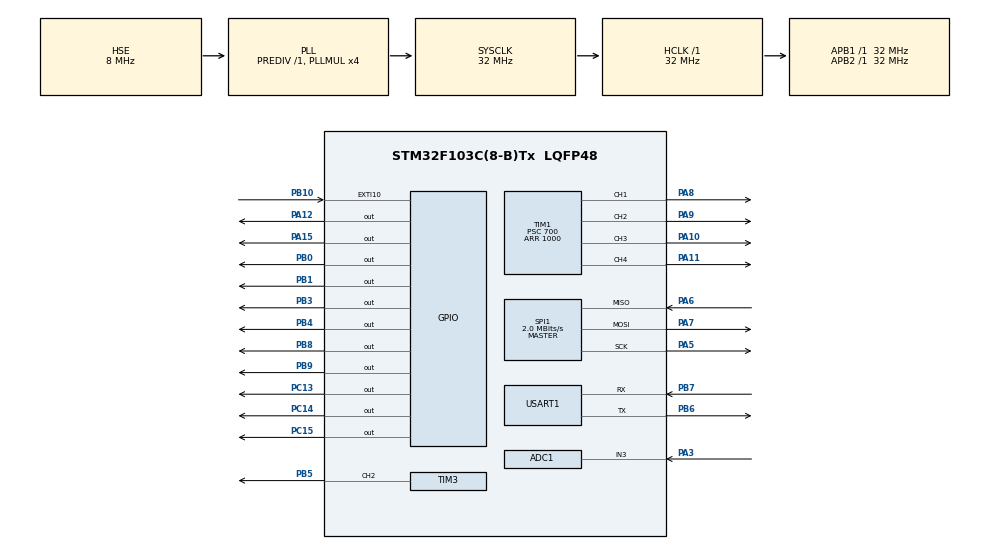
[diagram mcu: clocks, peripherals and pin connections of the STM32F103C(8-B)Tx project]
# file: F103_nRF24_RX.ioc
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ADC1.Channel-0\#ChannelRegularConversion=ADC_CHANNEL_3
ADC1.ContinuousConvMode=ENABLE
ADC1.DataAlign=ADC_DATAALIGN_RIGHT
ADC1.DiscontinuousConvMode=DISABLE
ADC1.EnableAnalogWatchDog=false
ADC1.EnableRegularConversion=ENABLE
ADC1.ExternalTrigConv=ADC_SOFTWARE_START
ADC1.InjNumberOfConversion=0
ADC1.NbrOfConversion=1
ADC1.NbrOfConversionFlag=1
ADC1.Rank-0\#ChannelRegularConversion=1
ADC1.SamplingTime-0\#ChannelRegularConversion=ADC_SAMPLETIME_239CYCLES_5
ADC1.ScanConvMode=ADC_SCAN_DISABLE
ADC1.master=1
Dma.ADC1.0.Direction=DMA_PERIPH_TO_MEMORY
Dma.ADC1.0.Instance=DMA1_Channel1
Dma.ADC1.0.MemDataAlignment=DMA_MDATAALIGN_HALFWORD
Dma.ADC1.0.MemInc=DMA_MINC_ENABLE
Dma.ADC1.0.Mode=DMA_CIRCULAR
Dma.ADC1.0.PeriphDataAlignment=DMA_PDATAALIGN_HALFWORD
Dma.ADC1.0.PeriphInc=DMA_PINC_DISABLE
Dma.ADC1.0.Priority=DMA_PRIORITY_MEDIUM
Dma.Request0=ADC1
Mcu.Family=STM32F1
Mcu.Name=STM32F103C(8-B)Tx
Mcu.Package=LQFP48
NVIC.DMA1_Channel1_IRQn=true\:0\:0\:false\:false\:true\:false
NVIC.EXTI15_10_IRQn=true\:0\:0\:false\:false\:true\:true
NVIC.PriorityGroup=NVIC_PRIORITYGROUP_4
NVIC.TIM2_IRQn=true\:1\:0\:true\:false\:true\:true
PA10.Signal=S_TIM1_CH3
PA11.Signal=S_TIM1_CH4
PA12.Signal=GPIO_Output
PA13.Mode=Serial_Wire
PA13.Signal=SYS_JTMS-SWDIO
PA14.Mode=Serial_Wire
PA14.Signal=SYS_JTCK-SWCLK
PA15.Signal=GPIO_Output
PA3.Signal=ADCx_IN3
PA5.Mode=Full_Duplex_Master
PA5.Signal=SPI1_SCK
PA6.Mode=Full_Duplex_Master
PA6.Signal=SPI1_MISO
PA7.Mode=Full_Duplex_Master
PA7.Signal=SPI1_MOSI
PA8.Signal=S_TIM1_CH1
PA9.Signal=S_TIM1_CH2
PB0.Signal=GPIO_Output
PB1.Signal=GPIO_Output
PB10.GPIO_ModeDefaultEXTI=GPIO_MODE_IT_FALLING
PB10.Signal=GPXTI10
PB3.Signal=GPIO_Output
PB4.Signal=GPIO_Output
PB5.Signal=S_TIM3_CH2
PB6.Mode=Asynchronous
PB6.Signal=USART1_TX
PB7.Mode=Asynchronous
PB7.Signal=USART1_RX
PB8.Signal=GPIO_Output
PB9.Signal=GPIO_Output
PC13-TAMPER-RTC.Signal=GPIO_Output
PC14-OSC32_IN.Signal=GPIO_Output
PC15-OSC32_OUT.Signal=GPIO_Output
PD0-OSC_IN.Mode=HSE-External-Oscillator
PD0-OSC_IN.Signal=RCC_OSC_IN
PD1-OSC_OUT.Mode=HSE-External-Oscillator
PD1-OSC_OUT.Signal=RCC_OSC_OUT
ProjectManager.HeapSize=0x200
ProjectManager.StackSize=0x400
ProjectManager.TargetToolchain=MDK-ARM V5
RCC.ADCPresc=RCC_ADCPCLK2_DIV8
RCC.AHBFreq_Value=32000000
RCC.APB1Freq_Value=32000000
RCC.APB1TimFreq_Value=32000000
RCC.APB2Freq_Value=32000000
RCC.APB2TimFreq_Value=32000000
RCC.HCLKFreq_Value=32000000
RCC.PLLMUL=RCC_PLL_MUL4
RCC.PLLSourceVirtual=RCC_PLLSOURCE_HSE
RCC.SYSCLKFreq_VALUE=32000000
RCC.SYSCLKSource=RCC_SYSCLKSOURCE_PLLCLK
RCC.USBFreq_Value=32000000
SH.ADCx_IN3.0=ADC1_IN3,IN3
SH.S_TIM1_CH1.0=TIM1_CH1,PWM Generation1 CH1
SH.S_TIM1_CH2.0=TIM1_CH2,PWM Generation2 CH2
SH.S_TIM1_CH3.0=TIM1_CH3,PWM Generation3 CH3
SH.S_TIM1_CH4.0=TIM1_CH4,PWM Generation4 CH4
SH.S_TIM3_CH2.0=TIM3_CH2,PWM Generation2 CH2
SPI1.BaudRatePrescaler=SPI_BAUDRATEPRESCALER_16
SPI1.CalculateBaudRate=2.0 MBits/s
SPI1.Direction=SPI_DIRECTION_2LINES
SPI1.Mode=SPI_MODE_MASTER
SPI1.VirtualType=VM_MASTER
TIM1.Channel-PWM\ Generation1\ CH1=TIM_CHANNEL_1
TIM1.Channel-PWM\ Generation2\ CH2=TIM_CHANNEL_2
TIM1.Channel-PWM\ Generation3\ CH3=TIM_CHANNEL_3
TIM1.Channel-PWM\ Generation4\ CH4=TIM_CHANNEL_4
TIM1.Period=1000
TIM1.Prescaler=700
TIM2.Period=1
TIM2.Prescaler=31999
TIM2.TIM_MasterOutputTrigger=TIM_TRGO_UPDATE
TIM3.Channel-PWM\ Generation2\ CH2=TIM_CHANNEL_2
TIM3.Period=1000
TIM3.Prescaler=700
USART1.VirtualMode=VM_ASYNC
VP_TIM1_VS_ClockSourceINT.Mode=Internal
VP_TIM2_VS_ClockSourceINT.Mode=Internal
VP_TIM3_VS_ClockSourceINT.Mode=Internal
board=F103_nRF24_RX

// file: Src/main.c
/**
  ******************************************************************************
  * @file           : main.c
  * @brief          : Main program body
  ******************************************************************************
  ** This notice applies to any and all portions of this file
  * that are not between comment pairs USER CODE BEGIN and
  * USER CODE END. Other portions of this file, whether
  * inserted by the user or by software development tools
  * are owned by their respective copyright owners.
  *
  * COPYRIGHT(c) 2018 STMicroelectronics
  *
  * Redistribution and use in source and binary forms, with or without modification,
  * are permitted provided that the following conditions are met:
  *   1. Redistributions of source code must retain the above copyright notice,
  *      this list of conditions and the following disclaimer.
  *   2. Redistributions in binary form must reproduce the above copyright notice,
  *      this list of conditions and the following disclaimer in the documentation
  *      and/or other materials provided with the distribution.
  *   3. Neither the name of STMicroelectronics nor the names of its contributors
  *      may be used to endorse or promote products derived from this software
  *      without specific prior written permission.
  *
  * THIS SOFTWARE IS PROVIDED BY THE COPYRIGHT HOLDERS AND CONTRIBUTORS "AS IS"
  * AND ANY EXPRESS OR IMPLIED WARRANTIES, INCLUDING, BUT NOT LIMITED TO, THE
  * IMPLIED WARRANTIES OF MERCHANTABILITY AND FITNESS FOR A PARTICULAR PURPOSE ARE
  * DISCLAIMED. IN NO EVENT SHALL THE COPYRIGHT HOLDER OR CONTRIBUTORS BE LIABLE
  * FOR ANY DIRECT, INDIRECT, INCIDENTAL, SPECIAL, EXEMPLARY, OR CONSEQUENTIAL
  * DAMAGES (INCLUDING, BUT NOT LIMITED TO, PROCUREMENT OF SUBSTITUTE GOODS OR
  * SERVICES; LOSS OF USE, DATA, OR PROFITS; OR BUSINESS INTERRUPTION) HOWEVER
  * CAUSED AND ON ANY THEORY OF LIABILITY, WHETHER IN CONTRACT, STRICT LIABILITY,
  * OR TORT (INCLUDING NEGLIGENCE OR OTHERWISE) ARISING IN ANY WAY OUT OF THE USE
  * OF THIS SOFTWARE, EVEN IF ADVISED OF THE POSSIBILITY OF SUCH DAMAGE.
  *
  ******************************************************************************
  */
#include "main.h"
#include "stm32f1xx_hal.h"

/* USER CODE BEGIN Includes */

#include "NRF24.h"
#include <string.h>
//----------------------------- Управление моторами -------------------
#define ENG1R_Start HAL_GPIO_WritePin(GPIOA, GPIO_PIN_12, GPIO_PIN_SET)
#define ENG1R_Stop  HAL_GPIO_WritePin(GPIOA, GPIO_PIN_12, GPIO_PIN_RESET)
#define ENG1D_Start HAL_GPIO_WritePin(GPIOA, GPIO_PIN_15, GPIO_PIN_SET)
#define ENG1D_Stop  HAL_GPIO_WritePin(GPIOA, GPIO_PIN_15, GPIO_PIN_RESET)
#define ENG2R_Start HAL_GPIO_WritePin(GPIOB, GPIO_PIN_3, GPIO_PIN_SET)
#define ENG2R_Stop  HAL_GPIO_WritePin(GPIOB, GPIO_PIN_3, GPIO_PIN_RESET)
#define ENG2D_Start HAL_GPIO_WritePin(GPIOB, GPIO_PIN_4, GPIO_PIN_SET)
#define ENG2D_Stop  HAL_GPIO_WritePin(GPIOB, GPIO_PIN_4, GPIO_PIN_RESET)
#define ENG1PWR TIM1->CCR1 //Мощность заднего мотора
#define ENG2PWR TIM1->CCR2 //Мощность переднего мотора
//----------------------------- Управления моторами -------------------
//----------------------------- светодиоды на машинке -------------------
#define LEDFL_ON  HAL_GPIO_WritePin(GPIOC, GPIO_PIN_15, GPIO_PIN_SET)
#define LEDFL_OFF HAL_GPIO_WritePin(GPIOC, GPIO_PIN_15, GPIO_PIN_RESET)
#define LEDFR_ON  HAL_GPIO_WritePin(GPIOC, GPIO_PIN_14, GPIO_PIN_SET)
#define LEDFR_OFF HAL_GPIO_WritePin(GPIOC, GPIO_PIN_14, GPIO_PIN_RESET)
#define Light_tog HAL_GPIO_TogglePin(GPIOC, GPIO_PIN_14)
#define LEDRL_ON  HAL_GPIO_WritePin(GPIOC, GPIO_PIN_9, GPIO_PIN_SET)
#define LEDRL_OFF HAL_GPIO_WritePin(GPIOC, GPIO_PIN_9, GPIO_PIN_RESET)
#define LEDRR_ON  HAL_GPIO_WritePin(GPIOC, GPIO_PIN_8, GPIO_PIN_SET)
#define LEDRR_OFF HAL_GPIO_WritePin(GPIOC, GPIO_PIN_8, GPIO_PIN_RESET)
//----------------------------- светодиоды на машинке -------------------
#define PWM3 TIM1->CCR3
#define PWM4 TIM3->CCR2	// Управление сервоприводом поворота.
/* USER CODE END Includes */

ADC_HandleTypeDef hadc1;
DMA_HandleTypeDef hdma_adc1;

SPI_HandleTypeDef hspi1;

TIM_HandleTypeDef htim1;
TIM_HandleTypeDef htim2;
TIM_HandleTypeDef htim3;

UART_HandleTypeDef huart1;

/* USER CODE BEGIN PV */
/* Private variables ---------------------------------------------------------*/
char str1[150]={0};
uint8_t buf1[20]={0};

uint8_t ReciveFlag=0;
extern uint8_t RX_BUF[5];

volatile uint16_t ADC_Data[2];
uint16_t TimeLastRx = 0;

volatile uint8_t SRV_C=62, SRV_Left=36, SRV_Right=84;

uint8_t OptionFlag=0;
float Volt = 0.0;
uint8_t MaxPwr = 6;

/* USER CODE END PV */

void SystemClock_Config(void);
static void MX_GPIO_Init(void);
static void MX_DMA_Init(void);
static void MX_SPI1_Init(void);
static void MX_USART1_UART_Init(void);
static void MX_TIM1_Init(void);
static void MX_ADC1_Init(void);
static void MX_TIM2_Init(void);
static void MX_TIM3_Init(void);

void HAL_TIM_MspPostInit(TIM_HandleTypeDef *htim);

/* USER CODE BEGIN PFP */
/* Private function prototypes -----------------------------------------------*/

void MotorDrive(uint8_t direction, uint16_t power);
uint8_t CheckBits (uint8_t value, uint8_t pos);

/* USER CODE END PFP */

int main(void)
{
  /* USER CODE BEGIN 1 */
	uint8_t usar=0x01;
	uint8_t dt_reg=0;
	uint8_t LightButton = 0;

	uint8_t test;

  /* USER CODE END 1 */

  /* MCU Configuration----------------------------------------------------------*/

  /* Reset of all peripherals, Initializes the Flash interface and the Systick. */
  HAL_Init();

  /* Configure the system clock */
  SystemClock_Config();

  /* Initialize all configured peripherals */
  MX_GPIO_Init();
  MX_DMA_Init();
  MX_SPI1_Init();
  MX_USART1_UART_Init();
  MX_TIM1_Init();
  MX_ADC1_Init();
  MX_TIM2_Init();
  MX_TIM3_Init();
  /* USER CODE BEGIN 2 */

	HAL_TIM_PWM_Start(&htim1, TIM_CHANNEL_1);
	HAL_TIM_PWM_Start(&htim1, TIM_CHANNEL_2);
	HAL_TIM_PWM_Start(&htim1, TIM_CHANNEL_3);
	HAL_TIM_PWM_Start(&htim1, TIM_CHANNEL_4);
	HAL_TIM_PWM_Start(&htim3, TIM_CHANNEL_2);

	HAL_Delay(200);

	NRF24_ini();
	HAL_Delay(100);
	HAL_TIM_Base_Start_IT(&htim2);

	ENG1PWR=0; //200-1000
	ENG2PWR=0;
	PWM3=100;
	PWM4=SRV_C;

	RX_BUF[0] = 100;
	RX_BUF[1] = 100;

	HAL_ADC_Start_DMA(&hadc1,(uint32_t*) &ADC_Data,2);

	LEDFL_ON;
  /* USER CODE END 2 */

  /* Infinite loop */
  while (1)
  {

  /* USER CODE BEGIN 3 */

		NRF24L01_Receive();
		HAL_Delay(1);

		Volt = 0.00276 * ADC_Data[0];
		memcpy(buf1, &Volt, sizeof(float));

		if (TimeLastRx > 500) {
			RX_BUF[0] = 100;
			RX_BUF[1] = 100;
			RX_BUF[2] = 0;
			RX_BUF[3] = 0;
			RX_BUF[4] = 0;
			TimeLastRx = 501;
		}

		if (OptionFlag == 0){ // Если нет запроса на настройку.
			if (RX_BUF[1] > 105)
				MotorDrive(1, RX_BUF[1]-100);
			if (RX_BUF[1] < 95)
				MotorDrive(2, 100-RX_BUF[1]);
			if (RX_BUF[1]<105 && RX_BUF[1]>95)
				MotorDrive(0,0);

			if (RX_BUF[0] > 105)
				PWM4 = SRV_C + (((SRV_Right-SRV_C)/100.0)*(RX_BUF[0]-100));
			if (RX_BUF[0] < 95)
				PWM4 = SRV_C - (((SRV_C-SRV_Left)/100.0)*(100-RX_BUF[0]));
			if (RX_BUF[0]<105 && RX_BUF[0]>95)
				PWM4 = SRV_C;

			if (CheckBits(RX_BUF[2],1)) {
				if (LightButton == 0) {
					Light_tog;
					LightButton = 1;
				}
			} else {
				LightButton = 0;
			}

			if (CheckBits(RX_BUF[2],2))
					LEDRL_ON;
				else
					LEDRL_OFF;
			if (CheckBits(RX_BUF[2],3))
					LEDRR_ON;
				else
					LEDRR_OFF;
		}
  }
  /* USER CODE END 3 */

}

void SystemClock_Config(void)
{

  RCC_OscInitTypeDef RCC_OscInitStruct;
  RCC_ClkInitTypeDef RCC_ClkInitStruct;
  RCC_PeriphCLKInitTypeDef PeriphClkInit;

    /**Initializes the CPU, AHB and APB busses clocks
    */
  RCC_OscInitStruct.OscillatorType = RCC_OSCILLATORTYPE_HSE;
  RCC_OscInitStruct.HSEState = RCC_HSE_ON;
  RCC_OscInitStruct.HSEPredivValue = RCC_HSE_PREDIV_DIV1;
  RCC_OscInitStruct.HSIState = RCC_HSI_ON;
  RCC_OscInitStruct.PLL.PLLState = RCC_PLL_ON;
  RCC_OscInitStruct.PLL.PLLSource = RCC_PLLSOURCE_HSE;
  RCC_OscInitStruct.PLL.PLLMUL = RCC_PLL_MUL4;
  if (HAL_RCC_OscConfig(&RCC_OscInitStruct) != HAL_OK)
  {
    _Error_Handler(__FILE__, __LINE__);
  }

    /**Initializes the CPU, AHB and APB busses clocks
    */
  RCC_ClkInitStruct.ClockType = RCC_CLOCKTYPE_HCLK|RCC_CLOCKTYPE_SYSCLK
                              |RCC_CLOCKTYPE_PCLK1|RCC_CLOCKTYPE_PCLK2;
  RCC_ClkInitStruct.SYSCLKSource = RCC_SYSCLKSOURCE_PLLCLK;
  RCC_ClkInitStruct.AHBCLKDivider = RCC_SYSCLK_DIV1;
  RCC_ClkInitStruct.APB1CLKDivider = RCC_HCLK_DIV1;
  RCC_ClkInitStruct.APB2CLKDivider = RCC_HCLK_DIV1;

  if (HAL_RCC_ClockConfig(&RCC_ClkInitStruct, FLASH_LATENCY_1) != HAL_OK)
  {
    _Error_Handler(__FILE__, __LINE__);
  }

  PeriphClkInit.PeriphClockSelection = RCC_PERIPHCLK_ADC;
  PeriphClkInit.AdcClockSelection = RCC_ADCPCLK2_DIV8;
  if (HAL_RCCEx_PeriphCLKConfig(&PeriphClkInit) != HAL_OK)
  {
    _Error_Handler(__FILE__, __LINE__);
  }

    /**Configure the Systick interrupt time
    */
  HAL_SYSTICK_Config(HAL_RCC_GetHCLKFreq()/1000);

    /**Configure the Systick
    */
  HAL_SYSTICK_CLKSourceConfig(SYSTICK_CLKSOURCE_HCLK);

  /* SysTick_IRQn interrupt configuration */
  HAL_NVIC_SetPriority(SysTick_IRQn, 0, 0);
}

/* ADC1 init function */
static void MX_ADC1_Init(void)
{

  ADC_ChannelConfTypeDef sConfig;

    /**Common config
    */
  hadc1.Instance = ADC1;
  hadc1.Init.ScanConvMode = ADC_SCAN_DISABLE;
  hadc1.Init.ContinuousConvMode = ENABLE;
  hadc1.Init.DiscontinuousConvMode = DISABLE;
  hadc1.Init.ExternalTrigConv = ADC_SOFTWARE_START;
  hadc1.Init.DataAlign = ADC_DATAALIGN_RIGHT;
  hadc1.Init.NbrOfConversion = 1;
  if (HAL_ADC_Init(&hadc1) != HAL_OK)
  {
    _Error_Handler(__FILE__, __LINE__);
  }

    /**Configure Regular Channel
    */
  sConfig.Channel = ADC_CHANNEL_3;
  sConfig.Rank = ADC_REGULAR_RANK_1;
  sConfig.SamplingTime = ADC_SAMPLETIME_239CYCLES_5;
  if (HAL_ADC_ConfigChannel(&hadc1, &sConfig) != HAL_OK)
  {
    _Error_Handler(__FILE__, __LINE__);
  }

}

/* SPI1 init function */
static void MX_SPI1_Init(void)
{

  /* SPI1 parameter configuration*/
  hspi1.Instance = SPI1;
  hspi1.Init.Mode = SPI_MODE_MASTER;
  hspi1.Init.Direction = SPI_DIRECTION_2LINES;
  hspi1.Init.DataSize = SPI_DATASIZE_8BIT;
  hspi1.Init.CLKPolarity = SPI_POLARITY_LOW;
  hspi1.Init.CLKPhase = SPI_PHASE_1EDGE;
  hspi1.Init.NSS = SPI_NSS_SOFT;
  hspi1.Init.BaudRatePrescaler = SPI_BAUDRATEPRESCALER_16;
  hspi1.Init.FirstBit = SPI_FIRSTBIT_MSB;
  hspi1.Init.TIMode = SPI_TIMODE_DISABLE;
  hspi1.Init.CRCCalculation = SPI_CRCCALCULATION_DISABLE;
  hspi1.Init.CRCPolynomial = 10;
  if (HAL_SPI_Init(&hspi1) != HAL_OK)
  {
    _Error_Handler(__FILE__, __LINE__);
  }

}

/* TIM1 init function */
static void MX_TIM1_Init(void)
{

  TIM_ClockConfigTypeDef sClockSourceConfig;
  TIM_MasterConfigTypeDef sMasterConfig;
  TIM_OC_InitTypeDef sConfigOC;
  TIM_BreakDeadTimeConfigTypeDef sBreakDeadTimeConfig;

  htim1.Instance = TIM1;
  htim1.Init.Prescaler = 0;
  htim1.Init.CounterMode = TIM_COUNTERMODE_UP;
  htim1.Init.Period = 1599;
  htim1.Init.ClockDivision = TIM_CLOCKDIVISION_DIV1;
  htim1.Init.RepetitionCounter = 0;
  htim1.Init.AutoReloadPreload = TIM_AUTORELOAD_PRELOAD_DISABLE;
  if (HAL_TIM_Base_Init(&htim1) != HAL_OK)
  {
    _Error_Handler(__FILE__, __LINE__);
  }

  sClockSourceConfig.ClockSource = TIM_CLOCKSOURCE_INTERNAL;
  if (HAL_TIM_ConfigClockSource(&htim1, &sClockSourceConfig) != HAL_OK)
  {
    _Error_Handler(__FILE__, __LINE__);
  }

  if (HAL_TIM_PWM_Init(&htim1) != HAL_OK)
  {
    _Error_Handler(__FILE__, __LINE__);
  }

  sMasterConfig.MasterOutputTrigger = TIM_TRGO_RESET;
  sMasterConfig.MasterSlaveMode = TIM_MASTERSLAVEMODE_DISABLE;
  if (HAL_TIMEx_MasterConfigSynchronization(&htim1, &sMasterConfig) != HAL_OK)
  {
    _Error_Handler(__FILE__, __LINE__);
  }

  sConfigOC.OCMode = TIM_OCMODE_PWM1;
  sConfigOC.Pulse = 0;
  sConfigOC.OCPolarity = TIM_OCPOLARITY_HIGH;
  sConfigOC.OCNPolarity = TIM_OCNPOLARITY_HIGH;
  sConfigOC.OCFastMode = TIM_OCFAST_DISABLE;
  sConfigOC.OCIdleState = TIM_OCIDLESTATE_RESET;
  sConfigOC.OCNIdleState = TIM_OCNIDLESTATE_RESET;
  if (HAL_TIM_PWM_ConfigChannel(&htim1, &sConfigOC, TIM_CHANNEL_1) != HAL_OK)
  {
    _Error_Handler(__FILE__, __LINE__);
  }

  if (HAL_TIM_PWM_ConfigChannel(&htim1, &sConfigOC, TIM_CHANNEL_2) != HAL_OK)
  {
    _Error_Handler(__FILE__, __LINE__);
  }

  if (HAL_TIM_PWM_ConfigChannel(&htim1, &sConfigOC, TIM_CHANNEL_3) != HAL_OK)
  {
    _Error_Handler(__FILE__, __LINE__);
  }

  if (HAL_TIM_PWM_ConfigChannel(&htim1, &sConfigOC, TIM_CHANNEL_4) != HAL_OK)
  {
    _Error_Handler(__FILE__, __LINE__);
  }

  sBreakDeadTimeConfig.OffStateRunMode = TIM_OSSR_DISABLE;
  sBreakDeadTimeConfig.OffStateIDLEMode = TIM_OSSI_DISABLE;
  sBreakDeadTimeConfig.LockLevel = TIM_LOCKLEVEL_OFF;
  sBreakDeadTimeConfig.DeadTime = 0;
  sBreakDeadTimeConfig.BreakState = TIM_BREAK_DISABLE;
  sBreakDeadTimeConfig.BreakPolarity = TIM_BREAKPOLARITY_HIGH;
  sBreakDeadTimeConfig.AutomaticOutput = TIM_AUTOMATICOUTPUT_DISABLE;
  if (HAL_TIMEx_ConfigBreakDeadTime(&htim1, &sBreakDeadTimeConfig) != HAL_OK)
  {
    _Error_Handler(__FILE__, __LINE__);
  }

  HAL_TIM_MspPostInit(&htim1);

}

/* TIM2 init function */
static void MX_TIM2_Init(void)
{

  TIM_ClockConfigTypeDef sClockSourceConfig;
  TIM_MasterConfigTypeDef sMasterConfig;

  htim2.Instance = TIM2;
  htim2.Init.Prescaler = 31999;
  htim2.Init.CounterMode = TIM_COUNTERMODE_UP;
  htim2.Init.Period = 1;
  htim2.Init.ClockDivision = TIM_CLOCKDIVISION_DIV1;
  htim2.Init.AutoReloadPreload = TIM_AUTORELOAD_PRELOAD_DISABLE;
  if (HAL_TIM_Base_Init(&htim2) != HAL_OK)
  {
    _Error_Handler(__FILE__, __LINE__);
  }

  sClockSourceConfig.ClockSource = TIM_CLOCKSOURCE_INTERNAL;
  if (HAL_TIM_ConfigClockSource(&htim2, &sClockSourceConfig) != HAL_OK)
  {
    _Error_Handler(__FILE__, __LINE__);
  }

  sMasterConfig.MasterOutputTrigger = TIM_TRGO_UPDATE;
  sMasterConfig.MasterSlaveMode = TIM_MASTERSLAVEMODE_DISABLE;
  if (HAL_TIMEx_MasterConfigSynchronization(&htim2, &sMasterConfig) != HAL_OK)
  {
    _Error_Handler(__FILE__, __LINE__);
  }

}

/* TIM3 init function */
static void MX_TIM3_Init(void)
{

  TIM_ClockConfigTypeDef sClockSourceConfig;
  TIM_MasterConfigTypeDef sMasterConfig;
  TIM_OC_InitTypeDef sConfigOC;

  htim3.Instance = TIM3;
  htim3.Init.Prescaler = 700;
  htim3.Init.CounterMode = TIM_COUNTERMODE_UP;
  htim3.Init.Period = 1000;
  htim3.Init.ClockDivision = TIM_CLOCKDIVISION_DIV1;
  htim3.Init.AutoReloadPreload = TIM_AUTORELOAD_PRELOAD_DISABLE;
  if (HAL_TIM_Base_Init(&htim3) != HAL_OK)
  {
    _Error_Handler(__FILE__, __LINE__);
  }

  sClockSourceConfig.ClockSource = TIM_CLOCKSOURCE_INTERNAL;
  if (HAL_TIM_ConfigClockSource(&htim3, &sClockSourceConfig) != HAL_OK)
  {
    _Error_Handler(__FILE__, __LINE__);
  }

  if (HAL_TIM_PWM_Init(&htim3) != HAL_OK)
  {
    _Error_Handler(__FILE__, __LINE__);
  }

  sMasterConfig.MasterOutputTrigger = TIM_TRGO_RESET;
  sMasterConfig.MasterSlaveMode = TIM_MASTERSLAVEMODE_DISABLE;
  if (HAL_TIMEx_MasterConfigSynchronization(&htim3, &sMasterConfig) != HAL_OK)
  {
    _Error_Handler(__FILE__, __LINE__);
  }

  sConfigOC.OCMode = TIM_OCMODE_PWM1;
  sConfigOC.Pulse = 0;
  sConfigOC.OCPolarity = TIM_OCPOLARITY_HIGH;
  sConfigOC.OCFastMode = TIM_OCFAST_DISABLE;
  if (HAL_TIM_PWM_ConfigChannel(&htim3, &sConfigOC, TIM_CHANNEL_2) != HAL_OK)
  {
    _Error_Handler(__FILE__, __LINE__);
  }

  HAL_TIM_MspPostInit(&htim3);

}

/* USART1 init function */
static void MX_USART1_UART_Init(void)
{

  huart1.Instance = USART1;
  huart1.Init.BaudRate = 115200;
  huart1.Init.WordLength = UART_WORDLENGTH_8B;
  huart1.Init.StopBits = UART_STOPBITS_1;
  huart1.Init.Parity = UART_PARITY_NONE;
  huart1.Init.Mode = UART_MODE_TX_RX;
  huart1.Init.HwFlowCtl = UART_HWCONTROL_NONE;
  huart1.Init.OverSampling = UART_OVERSAMPLING_16;
  if (HAL_UART_Init(&huart1) != HAL_OK)
  {
    _Error_Handler(__FILE__, __LINE__);
  }

}

static void MX_DMA_Init(void)
{
  /* DMA controller clock enable */
  __HAL_RCC_DMA1_CLK_ENABLE();

  /* DMA interrupt init */
  /* DMA1_Channel1_IRQn interrupt configuration */
  HAL_NVIC_SetPriority(DMA1_Channel1_IRQn, 0, 0);
  HAL_NVIC_EnableIRQ(DMA1_Channel1_IRQn);

}

/** Configure pins as
        * Analog
        * Input
        * Output
        * EVENT_OUT
        * EXTI
*/
static void MX_GPIO_Init(void)
{

  GPIO_InitTypeDef GPIO_InitStruct;

  /* GPIO Ports Clock Enable */
  __HAL_RCC_GPIOC_CLK_ENABLE();
  __HAL_RCC_GPIOD_CLK_ENABLE();
  __HAL_RCC_GPIOA_CLK_ENABLE();
  __HAL_RCC_GPIOB_CLK_ENABLE();

  /*Configure GPIO pin Output Level */
  HAL_GPIO_WritePin(GPIOC, GPIO_PIN_13|GPIO_PIN_14|GPIO_PIN_15, GPIO_PIN_RESET);

  /*Configure GPIO pin Output Level */
  HAL_GPIO_WritePin(GPIOB, GPIO_PIN_0|GPIO_PIN_1|GPIO_PIN_3|GPIO_PIN_4
                          |GPIO_PIN_8|GPIO_PIN_9, GPIO_PIN_RESET);

  /*Configure GPIO pin Output Level */
  HAL_GPIO_WritePin(GPIOA, GPIO_PIN_12|GPIO_PIN_15, GPIO_PIN_RESET);

  /*Configure GPIO pins : PC13 PC14 PC15 */
  GPIO_InitStruct.Pin = GPIO_PIN_13|GPIO_PIN_14|GPIO_PIN_15;
  GPIO_InitStruct.Mode = GPIO_MODE_OUTPUT_PP;
  GPIO_InitStruct.Speed = GPIO_SPEED_FREQ_LOW;
  HAL_GPIO_Init(GPIOC, &GPIO_InitStruct);

  /*Configure GPIO pins : PB0 PB1 PB3 PB4
                           PB8 PB9 */
  GPIO_InitStruct.Pin = GPIO_PIN_0|GPIO_PIN_1|GPIO_PIN_3|GPIO_PIN_4
                          |GPIO_PIN_8|GPIO_PIN_9;
  GPIO_InitStruct.Mode = GPIO_MODE_OUTPUT_PP;
  GPIO_InitStruct.Speed = GPIO_SPEED_FREQ_LOW;
  HAL_GPIO_Init(GPIOB, &GPIO_InitStruct);

  /*Configure GPIO pin : PB10 */
  GPIO_InitStruct.Pin = GPIO_PIN_10;
  GPIO_InitStruct.Mode = GPIO_MODE_IT_FALLING;
  GPIO_InitStruct.Pull = GPIO_NOPULL;
  HAL_GPIO_Init(GPIOB, &GPIO_InitStruct);

  /*Configure GPIO pins : PA12 PA15 */
  GPIO_InitStruct.Pin = GPIO_PIN_12|GPIO_PIN_15;
  GPIO_InitStruct.Mode = GPIO_MODE_OUTPUT_PP;
  GPIO_InitStruct.Speed = GPIO_SPEED_FREQ_LOW;
  HAL_GPIO_Init(GPIOA, &GPIO_InitStruct);

  /* EXTI interrupt init*/
  HAL_NVIC_SetPriority(EXTI15_10_IRQn, 0, 0);
  HAL_NVIC_EnableIRQ(EXTI15_10_IRQn);

}

/* USER CODE BEGIN 4 */

void HAL_GPIO_EXTI_Callback(uint16_t GPIO_Pin)
{
  if(GPIO_Pin== GPIO_PIN_10)
  {
    IRQ_Callback();
  }
  else
  {
    __NOP();
  }
}

void HAL_TIM_PeriodElapsedCallback(TIM_HandleTypeDef *htim)
{
  if(htim==&htim2)
  {
//    TIM1_Callback();
		TimeLastRx ++;
  }
}

void MotorDrive(uint8_t direction, uint16_t power) {

	if (direction == 1 && Volt > 6.6) {
		ENG2R_Stop;
		ENG1R_Stop;
		ENG1D_Start;
		ENG2D_Start;
		ENG2PWR = 800+(power*MaxPwr); // Задний двигатель
		ENG1PWR = 800+(power*MaxPwr);

//		LEDFL_ON;
//		LEDFR_ON;
	}

	if (direction == 2 && Volt > 6.6) {
		ENG2D_Stop;
		ENG1D_Stop;
		ENG1R_Start;
		ENG2R_Start;
		ENG2PWR = 800+(power*MaxPwr); // Задний двигатель
		ENG1PWR = 800+(power*MaxPwr);

//		LEDFL_OFF;
//		LEDFR_OFF;
	}

	if (direction == 0 || Volt < 6.6) {
		ENG2D_Stop;
		ENG1D_Stop;
		ENG1R_Stop;
		ENG2R_Stop;
		ENG1PWR = 0;
		ENG2PWR = 0;

//		LEDFL_OFF;
//		LEDFR_OFF;
	}

}

uint8_t CheckBits (uint8_t value, uint8_t pos){
	if (value & (1<<pos))
		return 1;
	else
		return 0;
}

/* USER CODE END 4 */

void _Error_Handler(char *file, int line)
{
  while(1)
  {
  }
}

/************************ (C) COPYRIGHT STMicroelectronics *****END OF FILE****/
